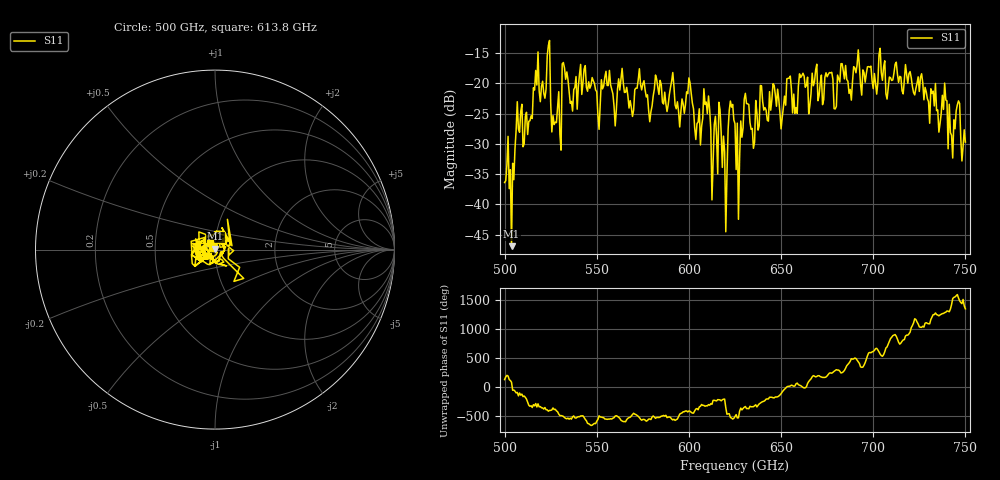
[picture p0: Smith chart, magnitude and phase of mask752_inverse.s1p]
!Created with skrf (http://scikit-rf.org).
# GHz S MA R 50.0
!freq magS11 angS11
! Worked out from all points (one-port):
!   401 points, 500 GHz to 750 GHz, reference 50 ohm
!   lowest |S11| = -46.9 dB at 503.8 GHz (marker M1), VSWR 1.01, Z = 50.1 + j0.444 ohm
!   |S11| at or under -10 dB: start of sweep to end of sweep
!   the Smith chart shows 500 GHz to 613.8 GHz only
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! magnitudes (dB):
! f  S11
! 500 GHz  -36.4
! 503.8 GHz  -46.9
! 507.5 GHz  -27.5
! 513.8 GHz  -26.2
! 516.9 GHz  -17.8
! 523.8 GHz  -13.7
! 526.9 GHz  -26.8
! 531.2 GHz  -16.8
! 532.5 GHz  -17.5
! 550.6 GHz  -25.3
! 562.5 GHz  -21.1
! 593.8 GHz  -23.0
! 600 GHz  -19.1
! 605 GHz  -26.4
! 609.4 GHz  -23.1
! 612.5 GHz  -39.3
! 617.5 GHz  -28.2
! 619.4 GHz  -31.3
! 622.5 GHz  -22.9
! 625 GHz  -26.7
! 626.9 GHz  -42.5
! 631.2 GHz  -23.3
! 634.4 GHz  -27.4
! 640 GHz  -23.0
! 656.2 GHz  -24.9
! 687.5 GHz  -21.0
! 718.8 GHz  -20.0
! 750 GHz  -29.7
